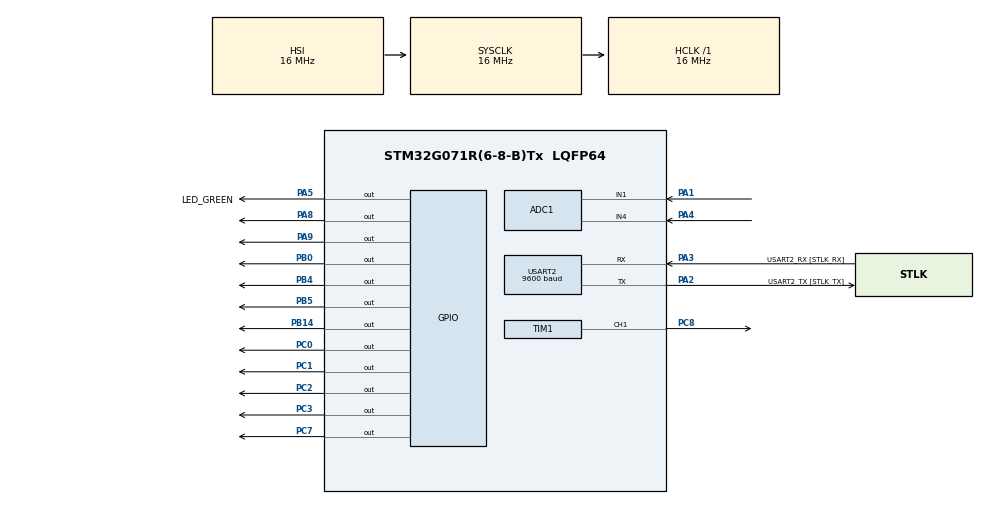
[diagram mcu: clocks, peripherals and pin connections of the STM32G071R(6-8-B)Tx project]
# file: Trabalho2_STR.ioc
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ADC1.Channel-0\#ChannelRegularConversion=ADC_CHANNEL_1
ADC1.Channel-1\#ChannelRegularConversion=ADC_CHANNEL_4
ADC1.ContinuousConvMode=DISABLE
ADC1.EOCSelection=ADC_EOC_SEQ_CONV
ADC1.ExternalTrigConv=ADC_EXTERNALTRIG_T2_TRGO
ADC1.NbrOfConversion=2
ADC1.NbrOfConversionFlag=1
ADC1.Rank-0\#ChannelRegularConversion=1
ADC1.Rank-1\#ChannelRegularConversion=2
ADC1.SamplingTime-0\#ChannelRegularConversion=ADC_SAMPLINGTIME_COMMON_1
ADC1.SamplingTime-1\#ChannelRegularConversion=ADC_SAMPLINGTIME_COMMON_2
ADC1.SamplingTimeCommon1=ADC_SAMPLETIME_1CYCLE_5
ADC1.SamplingTimeCommon2=ADC_SAMPLETIME_1CYCLE_5
ADC1.SelectedChannel=ADC_CHANNEL_1|ADC_CHANNEL_4
ADC1.master=1
Dma.ADC1.0.Direction=DMA_PERIPH_TO_MEMORY
Dma.ADC1.0.EventEnable=DISABLE
Dma.ADC1.0.Instance=DMA1_Channel1
Dma.ADC1.0.MemDataAlignment=DMA_MDATAALIGN_HALFWORD
Dma.ADC1.0.MemInc=DMA_MINC_ENABLE
Dma.ADC1.0.Mode=DMA_CIRCULAR
Dma.ADC1.0.PeriphDataAlignment=DMA_PDATAALIGN_HALFWORD
Dma.ADC1.0.PeriphInc=DMA_PINC_DISABLE
Dma.ADC1.0.Polarity=HAL_DMAMUX_REQ_GEN_RISING
Dma.ADC1.0.Priority=DMA_PRIORITY_LOW
Dma.ADC1.0.RequestNumber=1
Dma.ADC1.0.SignalID=NONE
Dma.ADC1.0.SyncEnable=DISABLE
Dma.ADC1.0.SyncPolarity=HAL_DMAMUX_SYNC_NO_EVENT
Dma.ADC1.0.SyncRequestNumber=1
Dma.ADC1.0.SyncSignalID=NONE
Dma.Request0=ADC1
FREERTOS.Mutexes01=printable,Dynamic,NULL,Available;pedestrianMutex,Dynamic,NULL,Available;adc,Dynamic,NULL,Available
FREERTOS.Tasks01=taskSemaforo,24,128,StartTaskSemaforo,Default,NULL,Dynamic,NULL,NULL;taskServoGate,8,128,StartTaskServoGate,Default,NULL,Dynamic,NULL,NULL;taskSensor,8,128,StartTaskSensor,Default,NULL,Dynamic,NULL,NULL;taskLCD,8,128,StartTaskLCD,Default,NULL,Dynamic,NULL,NULL;taskTemperatura,8,512,StartTaskTemperatura,Default,NULL,Dynamic,NULL,NULL
FREERTOS.configTOTAL_HEAP_SIZE=8192
FREERTOS.configUSE_NEWLIB_REENTRANT=1
Mcu.Family=STM32G0
Mcu.Name=STM32G071R(6-8-B)Tx
Mcu.Package=LQFP64
NVIC.DMA1_Channel1_IRQn=true\:3\:0\:false\:false\:true\:true\:false\:true\:true
NVIC.TIM6_DAC_LPTIM1_IRQn=true\:3\:0\:false\:false\:true\:false\:false\:true\:true
NVIC.TimeBase=TIM6_DAC_LPTIM1_IRQn
NVIC.TimeBaseIP=TIM6
PA1.Mode=IN1
PA1.Signal=ADC1_IN1
PA13.GPIO_Label=TMS
PA13.Mode=Serial_Wire
PA13.Signal=SYS_SWDIO
PA14-BOOT0.GPIO_Label=TCK
PA14-BOOT0.Mode=Serial_Wire
PA14-BOOT0.Signal=SYS_SWCLK
PA2.GPIO_Label=USART2_TX [STLK_TX]
PA2.GPIO_PuPd=GPIO_PULLUP
PA2.Mode=Asynchronous
PA2.Signal=USART2_TX
PA3.GPIO_Label=USART2_RX [STLK_RX]
PA3.GPIO_PuPd=GPIO_PULLUP
PA3.Mode=Asynchronous
PA3.Signal=USART2_RX
PA4.Mode=IN4
PA4.Signal=ADC1_IN4
PA5.GPIO_Label=LED_GREEN
PA5.GPIO_Speed=GPIO_SPEED_FREQ_HIGH
PA5.Signal=GPIO_Output
PA8.Signal=GPIO_Output
PA9.Signal=GPIO_Output
PB0.Signal=GPIO_Output
PB14.Signal=GPIO_Output
PB4.Signal=GPIO_Output
PB5.Signal=GPIO_Output
PC0.Signal=GPIO_Output
PC1.Signal=GPIO_Output
PC13.Mode=SYS_WakeUp1
PC13.Signal=SYS_WKUP2
PC14-OSC32_IN\ (PC14).Mode=LSE-External-Oscillator
PC14-OSC32_IN\ (PC14).Signal=RCC_OSC32_IN
PC15-OSC32_OUT\ (PC15).Mode=LSE-External-Oscillator
PC15-OSC32_OUT\ (PC15).Signal=RCC_OSC32_OUT
PC2.Signal=GPIO_Output
PC3.Signal=GPIO_Output
PC7.Signal=GPIO_Output
PC8.Signal=S_TIM1_CH1
PF0-OSC_IN\ (PF0).GPIO_Label=MCO
PF0-OSC_IN\ (PF0).Signal=RCC_OSC_IN
ProjectManager.HeapSize=0x200
ProjectManager.StackSize=0x400
ProjectManager.TargetToolchain=STM32CubeIDE
RCC.AHBFreq_Value=16000000
RCC.CortexFreq_Value=16000000
RCC.EXTERNAL_CLOCK_VALUE=12288000
RCC.HCLKFreq_Value=16000000
RCC.HSE_VALUE=8000000
RCC.HSI_VALUE=16000000
RCC.PLLQ=RCC_PLLQ_DIV4
RCC.SYSCLKFreq_VALUE=16000000
RCC.VCOOutputFreq_Value=128000000
RTC.Format=RTC_FORMAT_BIN
SH.S_TIM1_CH1.0=TIM1_CH1,PWM Generation1 CH1
TIM1.Channel-PWM\ Generation1\ CH1=TIM_CHANNEL_1
TIM1.CounterMode=TIM_COUNTERMODE_DOWN
TIM1.Period=320-1
TIM1.Prescaler=1600-1
TIM1.Pulse-PWM\ Generation1\ CH1=320-1-10
TIM2.CounterMode=TIM_COUNTERMODE_DOWN
TIM2.Period=100-1
TIM2.Prescaler=16000-1
TIM2.TIM_MasterOutputTrigger=TIM_TRGO_UPDATE
TIM2.TIM_MasterSlaveMode=TIM_MASTERSLAVEMODE_DISABLE
USART2.BaudRate=9600
USART2.VirtualMode-Asynchronous=VM_ASYNC
VP_FREERTOS_VS_CMSIS_V2.Mode=CMSIS_V2
VP_RTC_VS_RTC_Activate.Mode=RTC_Enabled
VP_RTC_VS_RTC_Calendar.Mode=RTC_Calendar
VP_SYS_VS_tim6.Mode=TIM6
VP_TIM1_VS_ClockSourceINT.Mode=Internal
VP_TIM2_VS_ClockSourceINT.Mode=Internal
board=NUCLEO-G071RB

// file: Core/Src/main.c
/* USER CODE BEGIN Header */
/**
  ******************************************************************************
  * @file           : main.c
  * @brief          : Main program body
  ******************************************************************************
  * @attention
  *
  * Copyright (c) 2025 STMicroelectronics.
  * All rights reserved.
  *
  * This software is licensed under terms that can be found in the LICENSE file
  * in the root directory of this software component.
  * If no LICENSE file comes with this software, it is provided AS-IS.
  *
  ******************************************************************************
  */
/* USER CODE END Header */
#include "main.h"
#include "cmsis_os.h"

/* USER CODE BEGIN Includes */
#include "stdio.h"
#include "stdarg.h"
#include "float.h"
/* USER CODE END Includes */

/* USER CODE BEGIN PD */

#define LED01_1 GPIOC->BSRR = 1 << 0
#define LED01_0 GPIOC->BRR  = 1 << 0

#define LED02_1 GPIOC->BSRR = 1 << 1
#define LED02_0 GPIOC->BRR  = 1 << 1

#define LED03_1 GPIOC->BSRR = 1 << 2
#define LED03_0 GPIOC->BRR  = 1 << 2

#define LED04_1 GPIOC->BSRR = 1 << 3
#define LED04_0 GPIOC->BRR  = 1 << 3

#define EN_0  GPIOC->BRR = (1 << 7)
#define EN_1  GPIOC->BSRR = (1 << 7)
#define RS_0  GPIOA->BRR = (1 << 9)
#define RS_1  GPIOA->BSRR = (1 << 9)
#define D7_0  GPIOA->BRR = (1 << 8)
#define D7_1  GPIOA->BSRR = (1 << 8)
#define D6_0  GPIOB->BRR = (1 << 14)
#define D6_1  GPIOB->BSRR = (1 << 14)
#define D5_0  GPIOB->BRR = (1 << 4)
#define D5_1  GPIOB->BSRR = (1 << 4)
#define D4_0  GPIOB->BRR = (1 << 5)
#define D4_1  GPIOB->BSRR = (1 << 5)
#define BL_0  GPIOB->BRR = 1
#define BL_1  GPIOB->BSRR = 1

#define LCD_Cursor_Off    0x0C
#define LCD_Cursor_Blink  0x0E
#define LCD_Cursor_Always 0x0F

#define PRINT_DISPLAY  0x01
#define PRINT_TERMINAL 0x02
/* USER CODE END PD */

ADC_HandleTypeDef hadc1;
DMA_HandleTypeDef hdma_adc1;

RTC_HandleTypeDef hrtc;

TIM_HandleTypeDef htim1;
TIM_HandleTypeDef htim2;

UART_HandleTypeDef huart2;

/* Definitions for taskSemaforo */
osThreadId_t taskSemaforoHandle;
const osThreadAttr_t taskSemaforo_attributes = {
  .name = "taskSemaforo",
  .priority = (osPriority_t) osPriorityNormal,
  .stack_size = 128 * 4
};
/* Definitions for taskServoGate */
osThreadId_t taskServoGateHandle;
const osThreadAttr_t taskServoGate_attributes = {
  .name = "taskServoGate",
  .priority = (osPriority_t) osPriorityLow,
  .stack_size = 128 * 4
};
/* Definitions for taskSensor */
osThreadId_t taskSensorHandle;
const osThreadAttr_t taskSensor_attributes = {
  .name = "taskSensor",
  .priority = (osPriority_t) osPriorityLow,
  .stack_size = 128 * 4
};
/* Definitions for taskLCD */
osThreadId_t taskLCDHandle;
const osThreadAttr_t taskLCD_attributes = {
  .name = "taskLCD",
  .priority = (osPriority_t) osPriorityLow,
  .stack_size = 128 * 4
};
/* Definitions for taskTemperatura */
osThreadId_t taskTemperaturaHandle;
const osThreadAttr_t taskTemperatura_attributes = {
  .name = "taskTemperatura",
  .priority = (osPriority_t) osPriorityLow,
  .stack_size = 512 * 4
};
/* Definitions for printable */
osMutexId_t printableHandle;
const osMutexAttr_t printable_attributes = {
  .name = "printable"
};
/* Definitions for pedestrianMutex */
osMutexId_t pedestrianMutexHandle;
const osMutexAttr_t pedestrianMutex_attributes = {
  .name = "pedestrianMutex"
};
/* Definitions for adc */
osMutexId_t adcHandle;
const osMutexAttr_t adc_attributes = {
  .name = "adc"
};
/* USER CODE BEGIN PV */
uint8_t print_loc = PRINT_DISPLAY;
uint8_t pedestrian_detected = 0;
volatile int16_t adc_values[2] = {0, 0};
/* USER CODE END PV */

void SystemClock_Config(void);
static void MX_GPIO_Init(void);
static void MX_DMA_Init(void);
static void MX_USART2_UART_Init(void);
static void MX_TIM1_Init(void);
static void MX_ADC1_Init(void);
static void MX_RTC_Init(void);
static void MX_TIM2_Init(void);
void StartTaskSemaforo(void *argument);
void StartTaskServoGate(void *argument);
void StartTaskSensor(void *argument);
void StartTaskLCD(void *argument);
void StartTaskTemperatura(void *argument);

/* USER CODE BEGIN PFP */
void us_delay(int time);
void LCD_sendData(uint8_t data);
void LCD_wrcom4(uint8_t com4);
void LCD_wrcom(uint8_t com);
void LCD_wrchar(uint8_t ch);
void LCD_backlight(uint8_t light);
void LCD_clear();
void LCD_goto(uint8_t x, uint8_t y);
void LCD_Init(uint8_t cursor);
/* USER CODE END PFP */

/* USER CODE BEGIN 0 */
void HAL_ADC_ConvCpltCallback(ADC_HandleTypeDef* hadc)
{
    // Reinicia o DMA para a próxima sequência (disparada pelo TIM2 TRGO)
    HAL_ADC_Start_DMA(hadc, (uint16_t*)adc_values, 2);
}

void us_delay(int time){
	for(int i = 0; i < time; i++){
		// 7 in the second loop is used in order to reach 1us Delay
		for(int j = 0; j < 7; j++){

		}
	}
}

void LCD_sendData(uint8_t data){
	if(data & 0x08) D7_1; else D7_0;
	if(data & 0x04) D6_1; else D6_0;
	if(data & 0x02) D5_1; else D5_0;
	if(data & 0x01) D4_1; else D4_0;
}

void LCD_wrcom4(uint8_t com4){
	LCD_sendData(com4);
	RS_0;
	EN_1;
	us_delay(5);
	EN_0;
	osDelay(20);
}

void LCD_wrcom(uint8_t com){
	LCD_sendData(com >> 4);
	RS_0;
	EN_1;
	us_delay(5);
	EN_0;
	LCD_sendData(com);
	us_delay(5);
	EN_1;
	us_delay(5);
	EN_0;
	osDelay(20);
}

void LCD_wrchar(uint8_t ch){
	LCD_sendData(ch >> 4);
	RS_1;
	EN_1;
	us_delay(5);
	EN_0;
	LCD_sendData(ch);
	us_delay(5);
	EN_1;
	us_delay(5);
	EN_0;
	osDelay(20);
}

void LCD_backlight(uint8_t light){
	if(light == 0) BL_0;
	else BL_1;
}

void LCD_clear(){
	LCD_wrcom(0x06);
}

void LCD_goto(uint8_t x, uint8_t y){
	uint8_t com = 0x80;
	//16x2 Display
	if(y == 0) com = 0x80;
	if(y == 1) com = 0xC0;
	if(x >= 0 && x < 16) com += x;
	LCD_wrcom(com);
}

void LCD_Init(uint8_t cursor){
	LCD_wrcom4(0x03);
	LCD_wrcom4(0x03);
	LCD_wrcom4(0x03);
	LCD_wrcom4(0x02);
	LCD_wrcom(0x28);
	LCD_wrcom(cursor);
	LCD_wrcom(0x06);
	LCD_wrcom(0x01);
	LCD_backlight(1);
}

//Extra for printf on Display or Terminal
int __io_putchar(int ch){
	if(print_loc == PRINT_DISPLAY){
		if(ch != '\n'){
			LCD_wrchar((uint8_t)ch);
		}
	}

	if(print_loc == PRINT_TERMINAL){
		if(ch != 0){
			HAL_UART_Transmit(&huart2, (uint8_t*)&ch, 1, 2);
		}
	}

	return ch;
}
/* USER CODE END 0 */

int main(void)
{

  /* MCU Configuration--------------------------------------------------------*/

  /* Reset of all peripherals, Initializes the Flash interface and the Systick. */
  HAL_Init();

  /* Configure the system clock */
  SystemClock_Config();

  /* Initialize all configured peripherals */
  MX_GPIO_Init();
  MX_DMA_Init();
  MX_USART2_UART_Init();
  MX_TIM1_Init();
  MX_ADC1_Init();
  MX_RTC_Init();
  MX_TIM2_Init();
  /* USER CODE BEGIN 2 */
  /* USER CODE BEGIN 2 */
  HAL_ADCEx_Calibration_Start(&hadc1);
  HAL_ADC_Start_DMA(&hadc1, (uint16_t*)adc_values, 2);
  HAL_TIM_Base_Start(&htim2); // Inicia TIM2 para gerar o TRGO
  /* USER CODE END 2 */

  /* Init scheduler */
  osKernelInitialize();
  /* Create the mutex(es) */
  /* creation of printable */
  printableHandle = osMutexNew(&printable_attributes);

  /* creation of pedestrianMutex */
  pedestrianMutexHandle = osMutexNew(&pedestrianMutex_attributes);

  /* creation of adc */
  adcHandle = osMutexNew(&adc_attributes);

  /* Create the thread(s) */
  /* creation of taskSemaforo */
  taskSemaforoHandle = osThreadNew(StartTaskSemaforo, NULL, &taskSemaforo_attributes);

  /* creation of taskServoGate */
  taskServoGateHandle = osThreadNew(StartTaskServoGate, NULL, &taskServoGate_attributes);

  /* creation of taskSensor */
  taskSensorHandle = osThreadNew(StartTaskSensor, NULL, &taskSensor_attributes);

  /* creation of taskLCD */
  taskLCDHandle = osThreadNew(StartTaskLCD, NULL, &taskLCD_attributes);

  /* creation of taskTemperatura */
  taskTemperaturaHandle = osThreadNew(StartTaskTemperatura, NULL, &taskTemperatura_attributes);

  /* Start scheduler */
  osKernelStart();

  /* We should never get here as control is now taken by the scheduler */

  /* Infinite loop */
  while (1)
  {

  }
}

void SystemClock_Config(void)
{
  RCC_OscInitTypeDef RCC_OscInitStruct = {0};
  RCC_ClkInitTypeDef RCC_ClkInitStruct = {0};

  /** Configure the main internal regulator output voltage
  */
  HAL_PWREx_ControlVoltageScaling(PWR_REGULATOR_VOLTAGE_SCALE1);

  /** Initializes the RCC Oscillators according to the specified parameters
  * in the RCC_OscInitTypeDef structure.
  */
  RCC_OscInitStruct.OscillatorType = RCC_OSCILLATORTYPE_HSI|RCC_OSCILLATORTYPE_LSI;
  RCC_OscInitStruct.HSIState = RCC_HSI_ON;
  RCC_OscInitStruct.HSIDiv = RCC_HSI_DIV1;
  RCC_OscInitStruct.HSICalibrationValue = RCC_HSICALIBRATION_DEFAULT;
  RCC_OscInitStruct.LSIState = RCC_LSI_ON;
  RCC_OscInitStruct.PLL.PLLState = RCC_PLL_NONE;
  if (HAL_RCC_OscConfig(&RCC_OscInitStruct) != HAL_OK)
  {
    Error_Handler();
  }

  /** Initializes the CPU, AHB and APB buses clocks
  */
  RCC_ClkInitStruct.ClockType = RCC_CLOCKTYPE_HCLK|RCC_CLOCKTYPE_SYSCLK
                              |RCC_CLOCKTYPE_PCLK1;
  RCC_ClkInitStruct.SYSCLKSource = RCC_SYSCLKSOURCE_HSI;
  RCC_ClkInitStruct.AHBCLKDivider = RCC_SYSCLK_DIV1;
  RCC_ClkInitStruct.APB1CLKDivider = RCC_HCLK_DIV1;

  if (HAL_RCC_ClockConfig(&RCC_ClkInitStruct, FLASH_LATENCY_0) != HAL_OK)
  {
    Error_Handler();
  }
}

static void MX_ADC1_Init(void)
{

  ADC_ChannelConfTypeDef sConfig = {0};

  /** Configure the global features of the ADC (Clock, Resolution, Data Alignment and number of conversion)
  */
  hadc1.Instance = ADC1;
  hadc1.Init.ClockPrescaler = ADC_CLOCK_SYNC_PCLK_DIV2;
  hadc1.Init.Resolution = ADC_RESOLUTION_12B;
  hadc1.Init.DataAlign = ADC_DATAALIGN_RIGHT;
  hadc1.Init.ScanConvMode = ADC_SCAN_ENABLE;
  hadc1.Init.EOCSelection = ADC_EOC_SEQ_CONV;
  hadc1.Init.LowPowerAutoWait = DISABLE;
  hadc1.Init.LowPowerAutoPowerOff = DISABLE;
  hadc1.Init.ContinuousConvMode = DISABLE;
  hadc1.Init.NbrOfConversion = 2;
  hadc1.Init.DiscontinuousConvMode = DISABLE;
  hadc1.Init.ExternalTrigConv = ADC_EXTERNALTRIG_T2_TRGO;
  hadc1.Init.ExternalTrigConvEdge = ADC_EXTERNALTRIGCONVEDGE_RISING;
  hadc1.Init.DMAContinuousRequests = DISABLE;
  hadc1.Init.Overrun = ADC_OVR_DATA_PRESERVED;
  hadc1.Init.SamplingTimeCommon1 = ADC_SAMPLETIME_1CYCLE_5;
  hadc1.Init.SamplingTimeCommon2 = ADC_SAMPLETIME_1CYCLE_5;
  hadc1.Init.OversamplingMode = DISABLE;
  hadc1.Init.TriggerFrequencyMode = ADC_TRIGGER_FREQ_HIGH;
  if (HAL_ADC_Init(&hadc1) != HAL_OK)
  {
    Error_Handler();
  }

  /** Configure Regular Channel
  */
  sConfig.Channel = ADC_CHANNEL_1;
  sConfig.Rank = ADC_REGULAR_RANK_1;
  sConfig.SamplingTime = ADC_SAMPLINGTIME_COMMON_1;
  if (HAL_ADC_ConfigChannel(&hadc1, &sConfig) != HAL_OK)
  {
    Error_Handler();
  }

  /** Configure Regular Channel
  */
  sConfig.Channel = ADC_CHANNEL_4;
  sConfig.Rank = ADC_REGULAR_RANK_2;
  sConfig.SamplingTime = ADC_SAMPLINGTIME_COMMON_2;
  if (HAL_ADC_ConfigChannel(&hadc1, &sConfig) != HAL_OK)
  {
    Error_Handler();
  }

}

static void MX_RTC_Init(void)
{

  RTC_TimeTypeDef sTime = {0};
  RTC_DateTypeDef sDate = {0};

  /** Initialize RTC Only
  */
  hrtc.Instance = RTC;
  hrtc.Init.HourFormat = RTC_HOURFORMAT_24;
  hrtc.Init.AsynchPrediv = 127;
  hrtc.Init.SynchPrediv = 255;
  hrtc.Init.OutPut = RTC_OUTPUT_DISABLE;
  hrtc.Init.OutPutRemap = RTC_OUTPUT_REMAP_NONE;
  hrtc.Init.OutPutPolarity = RTC_OUTPUT_POLARITY_HIGH;
  hrtc.Init.OutPutType = RTC_OUTPUT_TYPE_OPENDRAIN;
  hrtc.Init.OutPutPullUp = RTC_OUTPUT_PULLUP_NONE;
  if (HAL_RTC_Init(&hrtc) != HAL_OK)
  {
    Error_Handler();
  }

  /** Initialize RTC and set the Time and Date
  */
  sTime.Hours = 0;
  sTime.Minutes = 0;
  sTime.Seconds = 0;
  sTime.SubSeconds = 0;
  sTime.DayLightSaving = RTC_DAYLIGHTSAVING_NONE;
  sTime.StoreOperation = RTC_STOREOPERATION_RESET;
  if (HAL_RTC_SetTime(&hrtc, &sTime, RTC_FORMAT_BIN) != HAL_OK)
  {
    Error_Handler();
  }
  sDate.WeekDay = RTC_WEEKDAY_MONDAY;
  sDate.Month = RTC_MONTH_JANUARY;
  sDate.Date = 1;
  sDate.Year = 0;

  if (HAL_RTC_SetDate(&hrtc, &sDate, RTC_FORMAT_BIN) != HAL_OK)
  {
    Error_Handler();
  }

}

static void MX_TIM1_Init(void)
{

  TIM_ClockConfigTypeDef sClockSourceConfig = {0};
  TIM_MasterConfigTypeDef sMasterConfig = {0};
  TIM_OC_InitTypeDef sConfigOC = {0};
  TIM_BreakDeadTimeConfigTypeDef sBreakDeadTimeConfig = {0};

  htim1.Instance = TIM1;
  htim1.Init.Prescaler = 1600-1;
  htim1.Init.CounterMode = TIM_COUNTERMODE_DOWN;
  htim1.Init.Period = 320-1;
  htim1.Init.ClockDivision = TIM_CLOCKDIVISION_DIV1;
  htim1.Init.RepetitionCounter = 0;
  htim1.Init.AutoReloadPreload = TIM_AUTORELOAD_PRELOAD_DISABLE;
  if (HAL_TIM_Base_Init(&htim1) != HAL_OK)
  {
    Error_Handler();
  }
  sClockSourceConfig.ClockSource = TIM_CLOCKSOURCE_INTERNAL;
  if (HAL_TIM_ConfigClockSource(&htim1, &sClockSourceConfig) != HAL_OK)
  {
    Error_Handler();
  }
  if (HAL_TIM_PWM_Init(&htim1) != HAL_OK)
  {
    Error_Handler();
  }
  sMasterConfig.MasterOutputTrigger = TIM_TRGO_RESET;
  sMasterConfig.MasterOutputTrigger2 = TIM_TRGO2_RESET;
  sMasterConfig.MasterSlaveMode = TIM_MASTERSLAVEMODE_DISABLE;
  if (HAL_TIMEx_MasterConfigSynchronization(&htim1, &sMasterConfig) != HAL_OK)
  {
    Error_Handler();
  }
  sConfigOC.OCMode = TIM_OCMODE_PWM1;
  sConfigOC.Pulse = 320-1-10;
  sConfigOC.OCPolarity = TIM_OCPOLARITY_HIGH;
  sConfigOC.OCNPolarity = TIM_OCNPOLARITY_HIGH;
  sConfigOC.OCFastMode = TIM_OCFAST_DISABLE;
  sConfigOC.OCIdleState = TIM_OCIDLESTATE_RESET;
  sConfigOC.OCNIdleState = TIM_OCNIDLESTATE_RESET;
  if (HAL_TIM_PWM_ConfigChannel(&htim1, &sConfigOC, TIM_CHANNEL_1) != HAL_OK)
  {
    Error_Handler();
  }
  sBreakDeadTimeConfig.OffStateRunMode = TIM_OSSR_DISABLE;
  sBreakDeadTimeConfig.OffStateIDLEMode = TIM_OSSI_DISABLE;
  sBreakDeadTimeConfig.LockLevel = TIM_LOCKLEVEL_OFF;
  sBreakDeadTimeConfig.DeadTime = 0;
  sBreakDeadTimeConfig.BreakState = TIM_BREAK_DISABLE;
  sBreakDeadTimeConfig.BreakPolarity = TIM_BREAKPOLARITY_HIGH;
  sBreakDeadTimeConfig.BreakFilter = 0;
  sBreakDeadTimeConfig.BreakAFMode = TIM_BREAK_AFMODE_INPUT;
  sBreakDeadTimeConfig.Break2State = TIM_BREAK2_DISABLE;
  sBreakDeadTimeConfig.Break2Polarity = TIM_BREAK2POLARITY_HIGH;
  sBreakDeadTimeConfig.Break2Filter = 0;
  sBreakDeadTimeConfig.Break2AFMode = TIM_BREAK_AFMODE_INPUT;
  sBreakDeadTimeConfig.AutomaticOutput = TIM_AUTOMATICOUTPUT_DISABLE;
  if (HAL_TIMEx_ConfigBreakDeadTime(&htim1, &sBreakDeadTimeConfig) != HAL_OK)
  {
    Error_Handler();
  }
  HAL_TIM_MspPostInit(&htim1);

}

static void MX_TIM2_Init(void)
{

  TIM_ClockConfigTypeDef sClockSourceConfig = {0};
  TIM_MasterConfigTypeDef sMasterConfig = {0};

  htim2.Instance = TIM2;
  htim2.Init.Prescaler = 16000-1;
  htim2.Init.CounterMode = TIM_COUNTERMODE_DOWN;
  htim2.Init.Period = 100-1;
  htim2.Init.ClockDivision = TIM_CLOCKDIVISION_DIV1;
  htim2.Init.AutoReloadPreload = TIM_AUTORELOAD_PRELOAD_DISABLE;
  if (HAL_TIM_Base_Init(&htim2) != HAL_OK)
  {
    Error_Handler();
  }
  sClockSourceConfig.ClockSource = TIM_CLOCKSOURCE_INTERNAL;
  if (HAL_TIM_ConfigClockSource(&htim2, &sClockSourceConfig) != HAL_OK)
  {
    Error_Handler();
  }
  sMasterConfig.MasterOutputTrigger = TIM_TRGO_UPDATE;
  sMasterConfig.MasterSlaveMode = TIM_MASTERSLAVEMODE_DISABLE;
  if (HAL_TIMEx_MasterConfigSynchronization(&htim2, &sMasterConfig) != HAL_OK)
  {
    Error_Handler();
  }

}

static void MX_USART2_UART_Init(void)
{

  huart2.Instance = USART2;
  huart2.Init.BaudRate = 9600;
  huart2.Init.WordLength = UART_WORDLENGTH_8B;
  huart2.Init.StopBits = UART_STOPBITS_1;
  huart2.Init.Parity = UART_PARITY_NONE;
  huart2.Init.Mode = UART_MODE_TX_RX;
  huart2.Init.HwFlowCtl = UART_HWCONTROL_NONE;
  huart2.Init.OverSampling = UART_OVERSAMPLING_16;
  huart2.Init.OneBitSampling = UART_ONE_BIT_SAMPLE_DISABLE;
  huart2.Init.ClockPrescaler = UART_PRESCALER_DIV1;
  huart2.AdvancedInit.AdvFeatureInit = UART_ADVFEATURE_NO_INIT;
  if (HAL_UART_Init(&huart2) != HAL_OK)
  {
    Error_Handler();
  }
  if (HAL_UARTEx_SetTxFifoThreshold(&huart2, UART_TXFIFO_THRESHOLD_1_8) != HAL_OK)
  {
    Error_Handler();
  }
  if (HAL_UARTEx_SetRxFifoThreshold(&huart2, UART_RXFIFO_THRESHOLD_1_8) != HAL_OK)
  {
    Error_Handler();
  }
  if (HAL_UARTEx_DisableFifoMode(&huart2) != HAL_OK)
  {
    Error_Handler();
  }

}

static void MX_DMA_Init(void)
{

  /* DMA controller clock enable */
  __HAL_RCC_DMA1_CLK_ENABLE();

  /* DMA interrupt init */
  /* DMA1_Channel1_IRQn interrupt configuration */
  HAL_NVIC_SetPriority(DMA1_Channel1_IRQn, 3, 0);
  HAL_NVIC_EnableIRQ(DMA1_Channel1_IRQn);

}

static void MX_GPIO_Init(void)
{
  GPIO_InitTypeDef GPIO_InitStruct = {0};

  /* GPIO Ports Clock Enable */
  __HAL_RCC_GPIOC_CLK_ENABLE();
  __HAL_RCC_GPIOF_CLK_ENABLE();
  __HAL_RCC_GPIOA_CLK_ENABLE();
  __HAL_RCC_GPIOB_CLK_ENABLE();

  /*Configure GPIO pin Output Level */
  HAL_GPIO_WritePin(GPIOC, GPIO_PIN_0|GPIO_PIN_1|GPIO_PIN_2|GPIO_PIN_3
                          |GPIO_PIN_7, GPIO_PIN_RESET);

  /*Configure GPIO pin Output Level */
  HAL_GPIO_WritePin(GPIOA, LED_GREEN_Pin|GPIO_PIN_8|GPIO_PIN_9, GPIO_PIN_RESET);

  /*Configure GPIO pin Output Level */
  HAL_GPIO_WritePin(GPIOB, GPIO_PIN_0|GPIO_PIN_14|GPIO_PIN_4|GPIO_PIN_5, GPIO_PIN_RESET);

  /*Configure GPIO pins : PC0 PC1 PC2 PC3
                           PC7 */
  GPIO_InitStruct.Pin = GPIO_PIN_0|GPIO_PIN_1|GPIO_PIN_2|GPIO_PIN_3
                          |GPIO_PIN_7;
  GPIO_InitStruct.Mode = GPIO_MODE_OUTPUT_PP;
  GPIO_InitStruct.Pull = GPIO_NOPULL;
  GPIO_InitStruct.Speed = GPIO_SPEED_FREQ_LOW;
  HAL_GPIO_Init(GPIOC, &GPIO_InitStruct);

  /*Configure GPIO pin : LED_GREEN_Pin */
  GPIO_InitStruct.Pin = LED_GREEN_Pin;
  GPIO_InitStruct.Mode = GPIO_MODE_OUTPUT_PP;
  GPIO_InitStruct.Pull = GPIO_NOPULL;
  GPIO_InitStruct.Speed = GPIO_SPEED_FREQ_HIGH;
  HAL_GPIO_Init(LED_GREEN_GPIO_Port, &GPIO_InitStruct);

  /*Configure GPIO pins : PB0 PB14 PB4 PB5 */
  GPIO_InitStruct.Pin = GPIO_PIN_0|GPIO_PIN_14|GPIO_PIN_4|GPIO_PIN_5;
  GPIO_InitStruct.Mode = GPIO_MODE_OUTPUT_PP;
  GPIO_InitStruct.Pull = GPIO_NOPULL;
  GPIO_InitStruct.Speed = GPIO_SPEED_FREQ_LOW;
  HAL_GPIO_Init(GPIOB, &GPIO_InitStruct);

  /*Configure GPIO pins : PA8 PA9 */
  GPIO_InitStruct.Pin = GPIO_PIN_8|GPIO_PIN_9;
  GPIO_InitStruct.Mode = GPIO_MODE_OUTPUT_PP;
  GPIO_InitStruct.Pull = GPIO_NOPULL;
  GPIO_InitStruct.Speed = GPIO_SPEED_FREQ_LOW;
  HAL_GPIO_Init(GPIOA, &GPIO_InitStruct);

}

void StartTaskSemaforo(void *argument)
{
  /* USER CODE BEGIN 5 */
   uint8_t pedestrian_val = 0;
  /* Infinite loop */
  for(;;)
  {
	pedestrian_val = pedestrian_detected;

	if(pedestrian_val){
		LED01_0;
		LED02_1;
		LED03_1;
		LED04_0;
	} else {
		LED01_1;
		LED02_0;
		LED03_0;
		LED04_1;
	}
    osDelay(10);
  }
  /* USER CODE END 5 */
}

void StartTaskServoGate(void *argument)
{
  /* USER CODE BEGIN StartTaskServoGate */

	const uint16_t PULSE_OFF  = 147 - 1; // 1.5 ms
	const uint16_t PULSE_ON  = 245 - 1; // 2.0 ms

	TIM_OC_InitTypeDef sConfig = { 0 };
	htim1.Init.Prescaler = 160 - 1;
	htim1.Init.Period = 2000 - 1;
	HAL_TIM_Base_Init(&htim1);

	sConfig.OCMode = TIM_OCMODE_PWM1;
	sConfig.OCPolarity = TIM_OCPOLARITY_HIGH;
	sConfig.OCNPolarity = TIM_OCNPOLARITY_LOW;
	sConfig.OCFastMode = TIM_OCFAST_DISABLE;
	sConfig.OCIdleState = TIM_OCIDLESTATE_RESET;
	sConfig.OCNIdleState = TIM_OCNIDLESTATE_RESET;

	sConfig.Pulse = PULSE_OFF;
	HAL_TIM_PWM_ConfigChannel(&htim1, &sConfig,TIM_CHANNEL_1);
	HAL_TIM_PWM_Init(&htim1);
	HAL_TIM_PWM_Start(&htim1, TIM_CHANNEL_1);
	//HAL_TIM_PWM_Stop(&htim1, TIM_CHANNEL_1);

	uint8_t pedestrian_val_01 = 0;
	uint8_t pedestrian_val_02 = 0;

  /* Infinite loop */
  for(;;)
  {
	  	  osDelay(200);
  	  	  pedestrian_val_02 = pedestrian_val_01;
	  	  pedestrian_val_01 = pedestrian_detected;

	  	  if(pedestrian_val_01 != pedestrian_val_02){
	  		  if(pedestrian_val_01){
	  			  HAL_TIM_PWM_Stop(&htim1, TIM_CHANNEL_1);
	  			  sConfig.Pulse = PULSE_ON;
	  			  HAL_TIM_PWM_ConfigChannel(&htim1, &sConfig, TIM_CHANNEL_1);
	  			  HAL_TIM_PWM_Init(&htim1);
	  			  HAL_TIM_PWM_Start(&htim1, TIM_CHANNEL_1);
	  		  }else{
	  			  HAL_TIM_PWM_Stop(&htim1, TIM_CHANNEL_1);
	  			  sConfig.Pulse = PULSE_OFF;
	  			  HAL_TIM_PWM_ConfigChannel(&htim1, &sConfig, TIM_CHANNEL_1);
	  			  HAL_TIM_PWM_Init(&htim1);
	  			  HAL_TIM_PWM_Start(&htim1, TIM_CHANNEL_1);
	  		  }
	  	  }else{
	  		HAL_TIM_PWM_Stop(&htim1, TIM_CHANNEL_1);
	  	  }

  }
  /* USER CODE END StartTaskServoGate */
}

void StartTaskSensor(void *argument)
{
  /* USER CODE BEGIN StartTaskSensor */
	//HAL_ADC_Start_DMA(&hadc1, (uint32_t*)adc_values, 2);
	uint16_t val = 0;

	RTC_TimeTypeDef lcdTime = {0};
	RTC_DateTypeDef lcdDate = {0};
	lcdTime.Seconds = 5;
	HAL_RTC_Init(&hrtc);
	HAL_RTC_SetTime(&hrtc, &lcdTime, RTC_FORMAT_BIN);
	HAL_RTC_SetDate(&hrtc, &lcdDate, RTC_FORMAT_BIN);
	HAL_RTC_WaitForSynchro(&hrtc);
	lcdTime.Seconds = 0;
  /* Infinite loop */
  for(;;)
  {
	 osMutexAcquire(adcHandle, osWaitForever);
	 val = adc_values[0];
	 osMutexRelease(adcHandle);

	if(val > 200){
		if(pedestrian_detected == 0){
			osMutexAcquire(pedestrianMutexHandle, osWaitForever);
			HAL_RTC_SetTime(&hrtc, &lcdTime, RTC_FORMAT_BIN);
			HAL_RTC_SetDate(&hrtc, &lcdDate, RTC_FORMAT_BIN);
			pedestrian_detected = 1;
			osMutexRelease(pedestrianMutexHandle);
			osDelay(6000);
		}
	}

    osDelay(100);
  }
  /* USER CODE END StartTaskSensor */
}

void StartTaskLCD(void *argument)
{
  /* USER CODE BEGIN StartTaskLCD */
  LCD_Init(LCD_Cursor_Off);

  RTC_TimeTypeDef lcdTime = {0};
  RTC_DateTypeDef lcdDate = {0};
  LCD_goto(0,0);

  osMutexAcquire(printableHandle, osWaitForever);
  print_loc = PRINT_DISPLAY;
  printf(" [ ] Pedestrian\n");
  LCD_goto(0,1);
  printf("00:00  Wait Time\n");
  osMutexRelease(printableHandle);

  /* Infinite loop */
  for(;;)
  {
	LCD_goto(1,0);

	osMutexAcquire(printableHandle, osWaitForever);
	osMutexAcquire(pedestrianMutexHandle, osWaitForever);
	print_loc = PRINT_DISPLAY;

	if(pedestrian_detected){
		printf("[X]\n");
		HAL_RTC_GetTime(&hrtc, &lcdTime, RTC_FORMAT_BIN);
		HAL_RTC_GetDate(&hrtc, &lcdDate, RTC_FORMAT_BIN);

		if(lcdTime.Seconds >= 5){
			pedestrian_detected = 0;
		}

		LCD_goto(0,1);
		printf("00:%02d\n", 5 - lcdTime.Seconds);
	}
	else{
		printf("[ ]\n");
		LCD_goto(0,1);
		printf("00:00\n");
	}

	osMutexRelease(pedestrianMutexHandle);
	osMutexRelease(printableHandle);
	osDelay(10);
  }
  /* USER CODE END StartTaskLCD */
}

void StartTaskTemperatura(void *argument)
{
  /* USER CODE BEGIN StartTaskTemperatura */
	//HAL_ADC_Init(&hadc1);
	//HAL_ADC_Start_DMA(&hadc1, (uint32_t*)adc_values, 2);
	uint16_t leitura_temp = 0;
	float print_temp = 0.0f;
  /* Infinite loop */
  for(;;)
  {
	  	osMutexAcquire(adcHandle, osWaitForever);
		leitura_temp = adc_values[1];
		osMutexRelease(adcHandle);

		print_temp = (leitura_temp / (12.41)) * (0.714);

		osMutexAcquire(printableHandle, osWaitForever);
		print_loc = PRINT_TERMINAL;
		printf("\rTemp. Ambiente: %.2f\n", print_temp);
		osMutexRelease(printableHandle);
		osDelay(200);
  }
  /* USER CODE END StartTaskTemperatura */
}

void HAL_TIM_PeriodElapsedCallback(TIM_HandleTypeDef *htim)
{
  if (htim->Instance == TIM6)
  {
    HAL_IncTick();
  }
}

void Error_Handler(void)
{
  __disable_irq();
  while (1)
  {
  }
}
